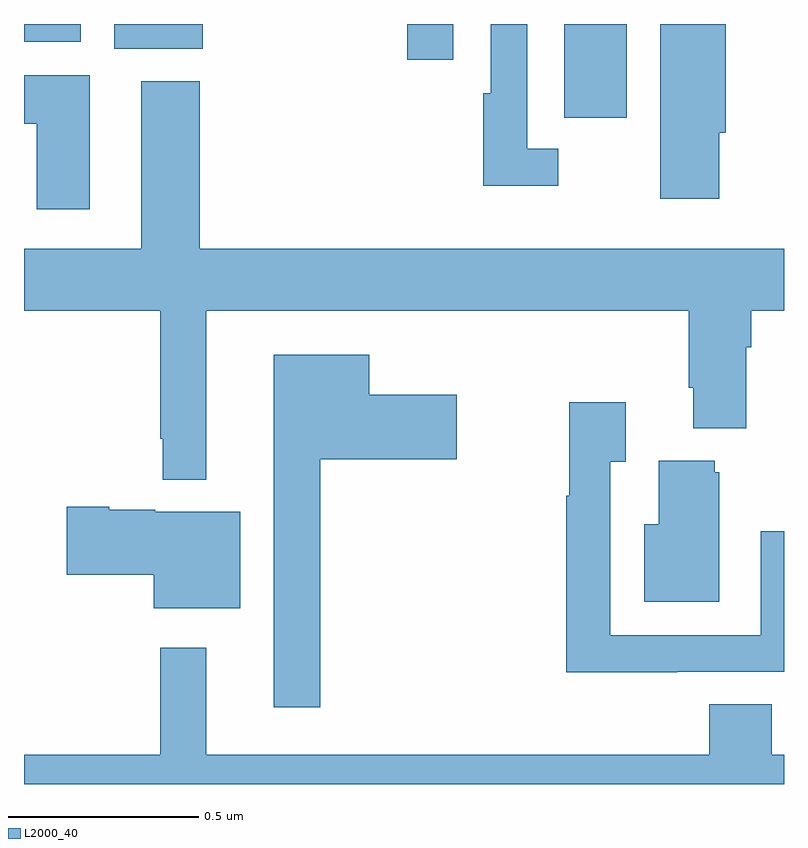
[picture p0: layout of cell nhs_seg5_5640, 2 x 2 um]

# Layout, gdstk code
import gdstk
lib = gdstk.Library(unit=1e-6, precision=1e-09)
def R(c, l, rs):  # rectangles x0, y0, x1, y1
    for r in rs: c.add(gdstk.rectangle(r[:2], r[2:], *l))
def P(c, l, *ps):  # polygons
    for p in ps: c.add(gdstk.Polygon(p, *l))
L2000_40 = (2000, 40)

nhs_seg5_5640 = lib.new_cell('nhs_seg5_5640')
R(nhs_seg5_5640, L2000_40, [(186.422,906.552,186.586,906.799), (186.008,906.705,186.13,906.799), (185.237,906.734,185.47,906.799), (185,906.752,185.149,906.799)])
P(nhs_seg5_5640, L2000_40, [(186.406,906.471),(186.324,906.471),(186.324,906.799),(186.228,906.799),(186.228,906.617),(186.208,906.617),(186.208,906.374),(186.406,906.374)],
  [(186.829,906.513),(186.847,906.513),(186.847,906.799),(186.674,906.799),(186.674,906.339),(186.829,906.339)],
  [(185.173,906.664),(185,906.664),(185,906.536),(185.033,906.536),(185.033,906.312),(185.173,906.312)],
  [(185.479,906.044),(186.749,906.044),(186.749,905.842),(186.761,905.842),(186.761,905.735),(186.901,905.735),(186.901,905.948),(186.914,905.948),(186.914,906.044),(187,906.044),(187,906.208),(185.462,906.208),(185.462,906.649),(185.309,906.649),(185.309,906.208),(185,906.208),(185,906.044),(185.358,906.044),(185.358,905.707),(185.365,905.707),(185.365,905.6),(185.479,905.6)],
  [(185.779,905.654),(186.139,905.654),(186.139,905.824),(185.908,905.824),(185.908,905.929),(185.657,905.929),(185.657,905.001),(185.779,905.001)],
  [(186.719,905.094),(187,905.094),(187,905.464),(186.939,905.464),(186.939,905.19),(186.543,905.19),(186.543,905.647),(186.583,905.647),(186.583,905.803),(186.435,905.803),(186.435,905.558),(186.427,905.558),(186.427,905.093),(186.719,905.093)],
  [(186.829,905.619),(186.818,905.619),(186.818,905.65),(186.671,905.65),(186.671,905.482),(186.632,905.482),(186.632,905.279),(186.829,905.279)],
  [(185.569,905.515),(185.346,905.515),(185.346,905.521),(185.224,905.521),(185.224,905.528),(185.112,905.528),(185.112,905.35),(185.342,905.35),(185.342,905.261),(185.569,905.261)],
  [(187,904.876),(186.968,904.876),(186.968,905.009),(186.803,905.009),(186.803,904.876),(185.479,904.876),(185.479,905.158),(185.358,905.158),(185.358,904.876),(185,904.876),(185,904.799),(187,904.799)])

lib.write_gds('nhs_seg5_5640.gds')
